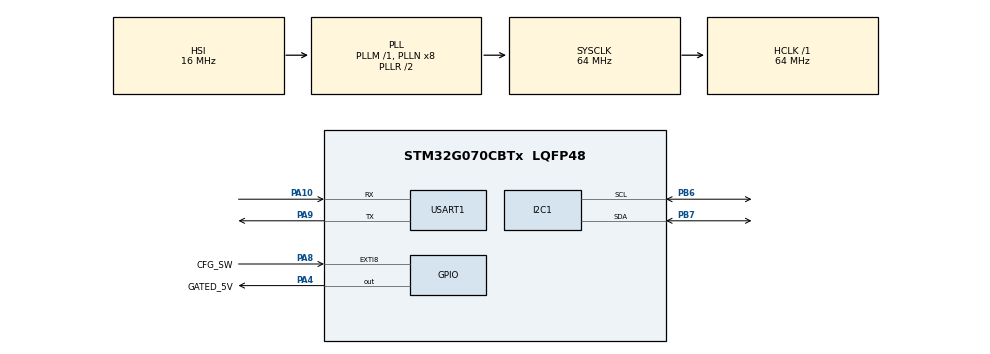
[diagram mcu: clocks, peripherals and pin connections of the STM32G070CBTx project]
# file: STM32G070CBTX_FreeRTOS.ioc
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FREERTOS.Tasks01=defaultTask,24,128,StartDefaultTask,Default,NULL,Dynamic,NULL,NULL
I2C1.Timing=0x10B17DB5
Mcu.Family=STM32G0
Mcu.Name=STM32G070CBTx
Mcu.Package=LQFP48
NVIC.EXTI4_15_IRQn=true\:3\:0\:false\:false\:true\:true\:true\:true\:true
NVIC.TIM6_IRQn=true\:3\:0\:false\:false\:true\:false\:false\:true\:true
NVIC.TimeBase=TIM6_IRQn
NVIC.TimeBaseIP=TIM6
PA10.Mode=Asynchronous
PA10.Signal=USART1_RX
PA4.GPIO_Label=GATED_5V
PA4.Signal=GPIO_Output
PA8.GPIO_Label=CFG_SW
PA8.GPIO_ModeDefaultEXTI=GPIO_MODE_IT_FALLING
PA8.GPIO_PuPd=GPIO_PULLUP
PA8.Signal=GPXTI8
PA9\ [PA11].Mode=Asynchronous
PA9\ [PA11].Signal=USART1_TX
PB6.GPIO_Pu=GPIO_PULLUP
PB6.Mode=I2C
PB6.Signal=I2C1_SCL
PB7.GPIO_Pu=GPIO_PULLUP
PB7.Mode=I2C
PB7.Signal=I2C1_SDA
ProjectManager.HeapSize=0x200
ProjectManager.StackSize=0x400
ProjectManager.TargetToolchain=STM32CubeIDE
RCC.ADCFreq_Value=64000000
RCC.AHBFreq_Value=64000000
RCC.CortexFreq_Value=64000000
RCC.EXTERNAL_CLOCK_VALUE=48000
RCC.HCLKFreq_Value=64000000
RCC.HSE_VALUE=8000000
RCC.HSI_VALUE=16000000
RCC.LSE_VALUE=32768
RCC.SYSCLKFreq_VALUE=64000000
RCC.SYSCLKSource=RCC_SYSCLKSOURCE_PLLCLK
RCC.VCOOutputFreq_Value=128000000
USART1.VirtualMode-Asynchronous=VM_ASYNC
VP_FREERTOS_VS_CMSIS_V2.Mode=CMSIS_V2
VP_SYS_VS_PINREMAP.Mode=PINREMAP
VP_SYS_VS_tim6.Mode=TIM6
board=custom

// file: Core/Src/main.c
/* USER CODE BEGIN Header */
/**
 ******************************************************************************
 * @file           : main.c
 * @brief          : Main program body
 ******************************************************************************
 * @attention
 *
 * Copyright (c) 2026 STMicroelectronics.
 * All rights reserved.
 *
 * This software is licensed under terms that can be found in the LICENSE file
 * in the root directory of this software component.
 * If no LICENSE file comes with this software, it is provided AS-IS.
 *
 ******************************************************************************
 */
/* USER CODE END Header */
#include "main.h"
#include "cmsis_os.h"

/* USER CODE BEGIN Includes */
#include <stdint.h>
#include <stdio.h>
/* USER CODE END Includes */

/* USER CODE BEGIN PM */
#define MS2TICKS(ms) ((ms * osKernelGetTickFreq()) / 1000)
#define MILLIS() osKernelGetTickCount()
#define USER_INPUT_TIMEOUT_MS 1000
#define USER_INPUT_TIME_MS_A 5000
#define USER_INPUT_TIME_MS_B 9000
#define USER_INPUT_TIMEOVERFLOW 15000
#define EVT_GPIO_PRESSED 0x01
/* USER CODE END PM */

I2C_HandleTypeDef hi2c1;

UART_HandleTypeDef huart1;

/* Definitions for defaultTask */
osThreadId_t config_task_handle;
const osThreadAttr_t config_task_attributes = {
    .name = "config_task",
    .priority = (osPriority_t)osPriorityNormal,
    .stack_size = 128 * 4};
/* USER CODE BEGIN PV */
static uint8_t block_gpio_interrupt = 0;
/* USER CODE END PV */

void SystemClock_Config(void);
static void MX_GPIO_Init(void);
static void MX_USART1_UART_Init(void);
static void MX_I2C1_Init(void);
void config_task_handler(void *argument);

int main(void)
{

  /* MCU Configuration--------------------------------------------------------*/

  /* Reset of all peripherals, Initializes the Flash interface and the Systick. */
  HAL_Init();

  /* Configure the system clock */
  SystemClock_Config();

  /* Initialize all configured peripherals */
  MX_GPIO_Init();
  MX_USART1_UART_Init();
  MX_I2C1_Init();

  /* Init scheduler */
  osKernelInitialize();

  /* Create the thread(s) */
  /* creation of defaultTask */
  config_task_handle = osThreadNew(config_task_handler, NULL, &config_task_attributes);

  /* Start scheduler */
  osKernelStart();

  /* We should never get here as control is now taken by the scheduler */

  /* Infinite loop */
  while (1)
  {

  }
}

void SystemClock_Config(void)
{
  RCC_OscInitTypeDef RCC_OscInitStruct = {0};
  RCC_ClkInitTypeDef RCC_ClkInitStruct = {0};

  /** Configure the main internal regulator output voltage
   */
  HAL_PWREx_ControlVoltageScaling(PWR_REGULATOR_VOLTAGE_SCALE1);

  /** Initializes the RCC Oscillators according to the specified parameters
   * in the RCC_OscInitTypeDef structure.
   */
  RCC_OscInitStruct.OscillatorType = RCC_OSCILLATORTYPE_HSI;
  RCC_OscInitStruct.HSIState = RCC_HSI_ON;
  RCC_OscInitStruct.HSIDiv = RCC_HSI_DIV1;
  RCC_OscInitStruct.HSICalibrationValue = RCC_HSICALIBRATION_DEFAULT;
  RCC_OscInitStruct.PLL.PLLState = RCC_PLL_ON;
  RCC_OscInitStruct.PLL.PLLSource = RCC_PLLSOURCE_HSI;
  RCC_OscInitStruct.PLL.PLLM = RCC_PLLM_DIV1;
  RCC_OscInitStruct.PLL.PLLN = 8;
  RCC_OscInitStruct.PLL.PLLP = RCC_PLLP_DIV2;
  RCC_OscInitStruct.PLL.PLLR = RCC_PLLR_DIV2;
  if (HAL_RCC_OscConfig(&RCC_OscInitStruct) != HAL_OK)
  {
    Error_Handler();
  }

  /** Initializes the CPU, AHB and APB buses clocks
   */
  RCC_ClkInitStruct.ClockType = RCC_CLOCKTYPE_HCLK | RCC_CLOCKTYPE_SYSCLK | RCC_CLOCKTYPE_PCLK1;
  RCC_ClkInitStruct.SYSCLKSource = RCC_SYSCLKSOURCE_PLLCLK;
  RCC_ClkInitStruct.AHBCLKDivider = RCC_SYSCLK_DIV1;
  RCC_ClkInitStruct.APB1CLKDivider = RCC_HCLK_DIV1;

  if (HAL_RCC_ClockConfig(&RCC_ClkInitStruct, FLASH_LATENCY_2) != HAL_OK)
  {
    Error_Handler();
  }
}

static void MX_I2C1_Init(void)
{

  hi2c1.Instance = I2C1;
  hi2c1.Init.Timing = 0x10B17DB5;
  hi2c1.Init.OwnAddress1 = 0;
  hi2c1.Init.AddressingMode = I2C_ADDRESSINGMODE_7BIT;
  hi2c1.Init.DualAddressMode = I2C_DUALADDRESS_DISABLE;
  hi2c1.Init.OwnAddress2 = 0;
  hi2c1.Init.OwnAddress2Masks = I2C_OA2_NOMASK;
  hi2c1.Init.GeneralCallMode = I2C_GENERALCALL_DISABLE;
  hi2c1.Init.NoStretchMode = I2C_NOSTRETCH_DISABLE;
  if (HAL_I2C_Init(&hi2c1) != HAL_OK)
  {
    Error_Handler();
  }

  /** Configure Analogue filter
   */
  if (HAL_I2CEx_ConfigAnalogFilter(&hi2c1, I2C_ANALOGFILTER_ENABLE) != HAL_OK)
  {
    Error_Handler();
  }

  /** Configure Digital filter
   */
  if (HAL_I2CEx_ConfigDigitalFilter(&hi2c1, 0) != HAL_OK)
  {
    Error_Handler();
  }
}

static void MX_USART1_UART_Init(void)
{

  huart1.Instance = USART1;
  huart1.Init.BaudRate = 115200;
  huart1.Init.WordLength = UART_WORDLENGTH_8B;
  huart1.Init.StopBits = UART_STOPBITS_1;
  huart1.Init.Parity = UART_PARITY_NONE;
  huart1.Init.Mode = UART_MODE_TX_RX;
  huart1.Init.HwFlowCtl = UART_HWCONTROL_NONE;
  huart1.Init.OverSampling = UART_OVERSAMPLING_16;
  huart1.Init.OneBitSampling = UART_ONE_BIT_SAMPLE_DISABLE;
  huart1.Init.ClockPrescaler = UART_PRESCALER_DIV1;
  huart1.AdvancedInit.AdvFeatureInit = UART_ADVFEATURE_NO_INIT;
  if (HAL_UART_Init(&huart1) != HAL_OK)
  {
    Error_Handler();
  }
  if (HAL_UARTEx_SetTxFifoThreshold(&huart1, UART_TXFIFO_THRESHOLD_1_8) != HAL_OK)
  {
    Error_Handler();
  }
  if (HAL_UARTEx_SetRxFifoThreshold(&huart1, UART_RXFIFO_THRESHOLD_1_8) != HAL_OK)
  {
    Error_Handler();
  }
  if (HAL_UARTEx_DisableFifoMode(&huart1) != HAL_OK)
  {
    Error_Handler();
  }
}

static void MX_GPIO_Init(void)
{
  GPIO_InitTypeDef GPIO_InitStruct = {0};

  /* GPIO Ports Clock Enable */
  __HAL_RCC_GPIOA_CLK_ENABLE();
  __HAL_RCC_GPIOB_CLK_ENABLE();

  /*Configure GPIO pin Output Level */
  HAL_GPIO_WritePin(GATED_5V_GPIO_Port, GATED_5V_Pin, GPIO_PIN_RESET);

  /*Configure GPIO pin : GATED_5V_Pin */
  GPIO_InitStruct.Pin = GATED_5V_Pin;
  GPIO_InitStruct.Mode = GPIO_MODE_OUTPUT_PP;
  GPIO_InitStruct.Pull = GPIO_NOPULL;
  GPIO_InitStruct.Speed = GPIO_SPEED_FREQ_LOW;
  HAL_GPIO_Init(GATED_5V_GPIO_Port, &GPIO_InitStruct);

  /*Configure GPIO pin : CFG_SW_Pin */
  GPIO_InitStruct.Pin = CFG_SW_Pin;
  GPIO_InitStruct.Mode = GPIO_MODE_IT_FALLING;
  GPIO_InitStruct.Pull = GPIO_PULLUP;
  HAL_GPIO_Init(CFG_SW_GPIO_Port, &GPIO_InitStruct);

  /* EXTI interrupt init*/
  HAL_NVIC_SetPriority(EXTI4_15_IRQn, 3, 0);
  HAL_NVIC_EnableIRQ(EXTI4_15_IRQn);

}

/* USER CODE BEGIN 4 */
int _write(int file, char *ptr, int len)
{
  HAL_UART_Transmit(&huart1, (uint8_t *)ptr, len, HAL_MAX_DELAY);
  return len;
}

void HAL_GPIO_EXTI_Falling_Callback(uint16_t GPIO_Pin)
{
  if (GPIO_Pin == CFG_SW_Pin && block_gpio_interrupt == 0)
  {
    block_gpio_interrupt = 1;
    osThreadFlagsSet(config_task_handle, EVT_GPIO_PRESSED);
  }
  else
  {
    __NOP();
  }
}

/* USER CODE END 4 */

void config_task_handler(void *argument)
{
  /* USER CODE BEGIN 5 */
  uint32_t flags;
  printf("config-user-started\r\n");
  HAL_GPIO_WritePin(GATED_5V_GPIO_Port, GATED_5V_Pin, GPIO_PIN_RESET);
  HAL_Delay(3000);
  /* Infinite loop */
  for (;;)
  {
    flags = osThreadFlagsWait(EVT_GPIO_PRESSED, osFlagsWaitAny, osWaitForever);
    if (flags & EVT_GPIO_PRESSED)
    {
      osDelay(MS2TICKS(200)); // debounce delay
      uint32_t triggerred_time = MILLIS();
      while (GPIO_PIN_RESET == HAL_GPIO_ReadPin(CFG_SW_GPIO_Port, CFG_SW_Pin))
      {
        osDelay(MS2TICKS(250));
        if (MILLIS() - triggerred_time > USER_INPUT_TIMEOVERFLOW)
        {
          printf("Input time overflow\r\n");
          break;
        }
      }

      // check if the button was released within expected time
      uint32_t input_time = MILLIS() - triggerred_time;
      uint8_t data = 0;

      printf("Button was pressed for %lu ms\r\n", input_time);

      if (input_time < USER_INPUT_TIMEOUT_MS)
      {

        printf("Scanning I2C bus...\r\n");

        for (uint8_t add = 1; add < 128; add++)
        {
          if (HAL_I2C_IsDeviceReady(&hi2c1, (add << 1), 1, 10) == HAL_OK)
          {
            printf("Device found at 0x%02X\r\n", add);
          }
        }

        printf("Scan complete\r\n");
      }
      else if (input_time < USER_INPUT_TIME_MS_A)
      {
        printf("USER_INPUT_TIME_MS_A\r\n");
      }
      else if (input_time < USER_INPUT_TIME_MS_B)
      {
        printf("USER_INPUT_TIME_MS_B\r\n");
      }
      else if (input_time < USER_INPUT_TIMEOVERFLOW)
      {
        printf("USER_INPUT_TIMEOVERFLOW\r\n");
      }

      // clear the flag once processed
      block_gpio_interrupt = 0;
    }
  }
  /* USER CODE END 5 */
}

void HAL_TIM_PeriodElapsedCallback(TIM_HandleTypeDef *htim)
{
  if (htim->Instance == TIM6)
  {
    HAL_IncTick();
  }
}

void Error_Handler(void)
{
  __disable_irq();
  while (1)
  {
  }
}
